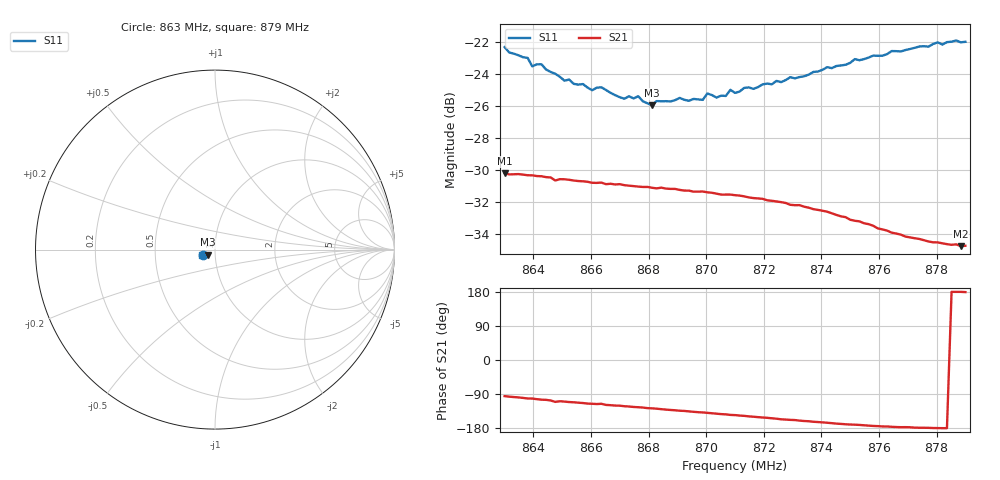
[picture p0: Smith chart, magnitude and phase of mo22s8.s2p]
# HZ S RI R 50
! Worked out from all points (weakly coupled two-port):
!   101 points, 863 MHz to 879 MHz, reference 50 ohm
!   highest |S21| = -30.19 dB at 863 MHz (marker M1); lowest = -34.7 dB at 878.84 MHz (marker M2)
!   lowest |S11| = -26.0 dB at 868.12 MHz (marker M3), VSWR 1.11, Z = 46 - j2.62 ohm
!   |S11| at or under -10 dB: start of sweep to end of sweep
!   S12 and S22 are empty: the file has one direction only
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8.63e8  -0.0692 -0.0322  -0.00291 -0.0308  0 0  0 0
8.638e8  -0.0641 -0.0296  -0.0061 -0.0298  0 0  0 0
8.6396e8  -0.0603 -0.028  -0.0062 -0.0298  0 0  0 0
8.6428e8  -0.0604 -0.0301  -0.00768 -0.0293  0 0  0 0
8.6508e8  -0.054 -0.0262  -0.01 -0.0278  0 0  0 0
8.6572e8  -0.0518 -0.0274  -0.0117 -0.0267  0 0  0 0
8.6604e8  -0.0495 -0.0263  -0.0124 -0.026  0 0  0 0
8.6636e8  -0.0522 -0.0234  -0.0125 -0.0261  0 0  0 0
8.6716e8  -0.0446 -0.0281  -0.015 -0.024  0 0  0 0
8.6764e8  -0.0444 -0.0302  -0.016 -0.0231  0 0  0 0
8.6812e8  -0.0414 -0.0284  -0.017 -0.0221  0 0  0 0
8.6844e8  -0.0417 -0.0306  -0.0178 -0.0214  0 0  0 0
8.6988e8  -0.0392 -0.0346  -0.0203 -0.018  0 0  0 0
8.7004e8  -0.0418 -0.0353  -0.0205 -0.0175  0 0  0 0
8.7036e8  -0.0404 -0.0345  -0.0209 -0.0166  0 0  0 0
8.7068e8  -0.0403 -0.0357  -0.0213 -0.0158  0 0  0 0
8.7084e8  -0.0428 -0.0364  -0.0217 -0.0152  0 0  0 0
8.71e8  -0.041 -0.0366  -0.0217 -0.015  0 0  0 0
8.7372e8  -0.0476 -0.0425  -0.0228 -0.00698  0 0  0 0
8.7644e8  -0.0628 -0.0394  -0.0201 -0.00131  0 0  0 0
8.7884e8  -0.0732 -0.0296  -0.0183 5.1e-05  0 0  0 0
8.79e8  -0.0736 -0.0294  -0.0184 0.000271  0 0  0 0
